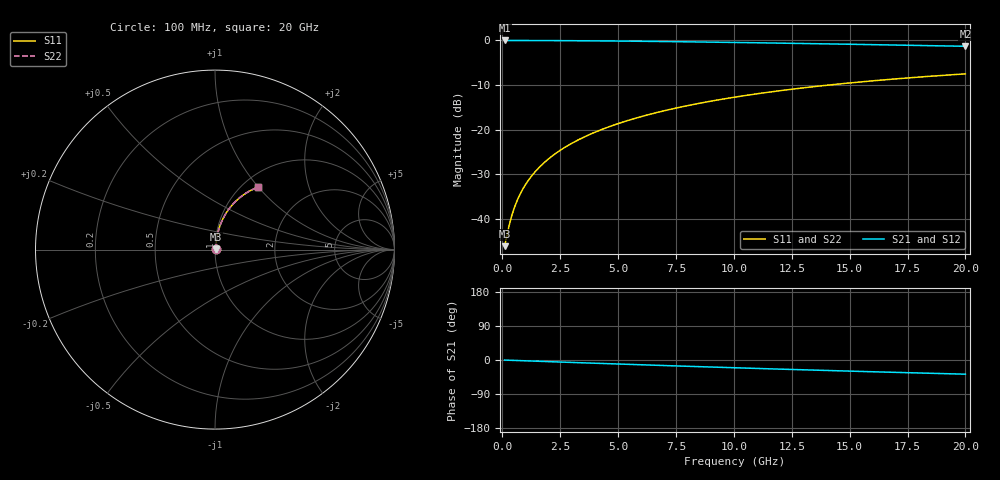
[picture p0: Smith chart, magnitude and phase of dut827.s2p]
! Touchstone file exported from HFSS 2024.1.0
!  File:  C:/UserFiles/LocalFiles/RDL_TSV_Batchsim/temp_RDL_top_827_1779854807.aedt
!  Generated:  12:09:17 PM May 27, 2026
!  Design:  RDL_top
!  Project:  temp_RDL_top_827_1779854807
!  Setup:  Setup1
!  Solution:  Sweep
! Variables:
!  dtsv = 10.80580581um
!  hbump = 3um
!  htsv = 83.68um
!  ldown = 100um
!  lrdl = 473.95um
!  p = 40
!  p1 = 47.05um
!  rhole = 1um
!  t = 450um
!  tdown = 3.915915916um
!  trdl = 2.92um
!  wdown = 15.38538539um
!  wrdl = 13.63um
# GHz S MA R 50.000000
! Terminal data exported
! Port[1] = Box2_T1
! Port[2] = Box2_T2
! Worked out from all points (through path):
!   200 points, 100 MHz to 20 GHz, reference 50 ohm
!   highest |S21| = -0.04 dB at 100 MHz (marker M1); lowest = -1.3 dB at 20 GHz (marker M2)
!   group delay of S21, straight-line fit = 5.2 ps
!   lowest |S11| = -46.0 dB at 100 MHz (marker M3), VSWR 1.01, Z = 50.4 + j0.247 ohm
!   |S11| at or under -10 dB: start of sweep to 14.11 GHz
!   |S22| runs from -46.0 to -7.5 dB; largest |S21 - S12| = 2.6e-15
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0.1  0.004991 29.4  0.9957 -0.2  0.9957 -0.2  0.004991 29.4
! Gamma 0 0 0 0
! Port Impedance 50 0 50 0
0.3  0.008593 58.2  0.9955 -0.7  0.9955 -0.7  0.008593 58.2
0.4  0.01075 64.3  0.9953 -0.9  0.9953 -0.9  0.01075 64.3
0.5  0.01297 68.2  0.9952 -1.1  0.9952 -1.1  0.01297 68.3
0.6  0.01521 71.0  0.9951 -1.3  0.9951 -1.3  0.01521 71.0
0.7  0.01747 73.0  0.9949 -1.5  0.9949 -1.5  0.01747 73.0
0.9  0.02201 75.7  0.9946 -2.0  0.9946 -2.0  0.02201 75.7
1.2  0.02885 78.1  0.9941 -2.6  0.9941 -2.6  0.02885 78.1
1.4  0.03344 79.1  0.9937 -3.0  0.9937 -3.0  0.03344 79.1
1.7  0.04034 80.0  0.9931 -3.7  0.9931 -3.7  0.04034 80.0
2.2  0.0519 80.8  0.9919 -4.7  0.9919 -4.7  0.0519 80.8
2.8  0.06582 81.0  0.9901 -6.0  0.9901 -6.0  0.06582 81.0
3.5  0.0821 80.7  0.9876 -7.5  0.9876 -7.5  0.0821 80.7
4.2  0.0984 80.1  0.9846 -9.0  0.9846 -9.0  0.0984 80.2
5  0.117 79.3  0.9806 -10.6  0.9806 -10.6  0.117 79.3
5.9  0.1379 78.1  0.9755 -12.5  0.9755 -12.5  0.1379 78.1
6.8  0.1586 76.8  0.9699 -14.3  0.9699 -14.3  0.1586 76.8
8.3  0.1928 74.5  0.9595 -17.2  0.9595 -17.2  0.1928 74.5
10.1  0.2327 71.6  0.9456 -20.6  0.9456 -20.6  0.2328 71.6
13.4  0.302 66.1  0.9175 -26.6  0.9175 -26.6  0.3021 66.1
16.7  0.365 60.7  0.8874 -32.2  0.8874 -32.2  0.3651 60.7
20  0.4211 55.6  0.8567 -37.4  0.8567 -37.4  0.4211 55.6
